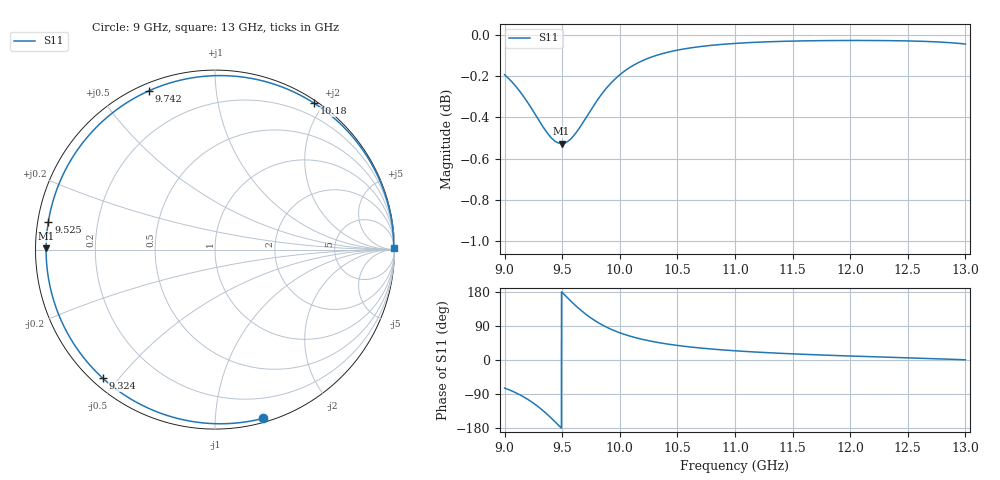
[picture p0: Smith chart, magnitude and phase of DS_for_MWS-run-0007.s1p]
! TOUCHSTONE file generated by CST DESIGN STUDIO
! Date and time: Tue Feb  4 14:20:54 2025
! Project name: C:\Work\MatlabApps\UnitCellOptimizationMatlab\CST\unitcell.cst
! Tree item: Tasks\Sweep1\SPara1\S-Parameters
! Header version: 2024
! Port assignment regex: !\s*Touchstone port\s*([0-9]+)\s*=\s*(CST MWS port|CST DES external port|CST DES block port)\s*(.+)\s* \(\"(.*)\"\)(\s*mode\s*([0-9]+))?.*
! Touchstone port assignment:
! Touchstone port 1 = CST DES external port 1 ("")
# GHz S MA R 50
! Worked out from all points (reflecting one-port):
!   4001 points, 9 GHz to 13 GHz, reference 50 ohm
!   lowest |S11| = -0.5 dB at 9.495 GHz (marker M1), VSWR 32.95, Z = 1.52 + j0.164 ohm
!   phase of S11 starts at -74 deg and turns -285 deg over the sweep
!   S11 on the Smith chart (normalised r, x): 9 GHz: 0.03, -1.33; 9.324 GHz: 0.03, -0.45; 9.525 GHz: 0.03, +0.08; 9.742 GHz: 0.03, +0.67; 10.18 GHz: 0.03, +1.88; 13 GHz: open
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9  0.9781 -74.0
9.086  0.9725 -84.9
9.188  0.9641 -101.4
9.259  0.9573 -115.8
9.324  0.9508 -131.2
9.37  0.9467 -143.4
9.418  0.9434 -157.1
9.457  0.9417 -168.8
9.495  0.9411 179.6
9.5  0.9411 178.1
9.525  0.9415 170.4
9.577  0.9437 154.8
9.637  0.9482 137.9
9.689  0.9531 124.6
9.742  0.9583 112.5
9.794  0.9633 102.0
9.852  0.9683 91.8
9.925  0.9736 81.0
10  0.978 71.8
10.176  0.9852 55.9
10.323  0.9888 46.6
10.5  0.9916 38.4
10.722  0.9938 31.0
11  0.9953 24.3
11.5  0.9966 16.2
12  0.997 10.5
12.5  0.9967 5.7
13  0.995 0.5
